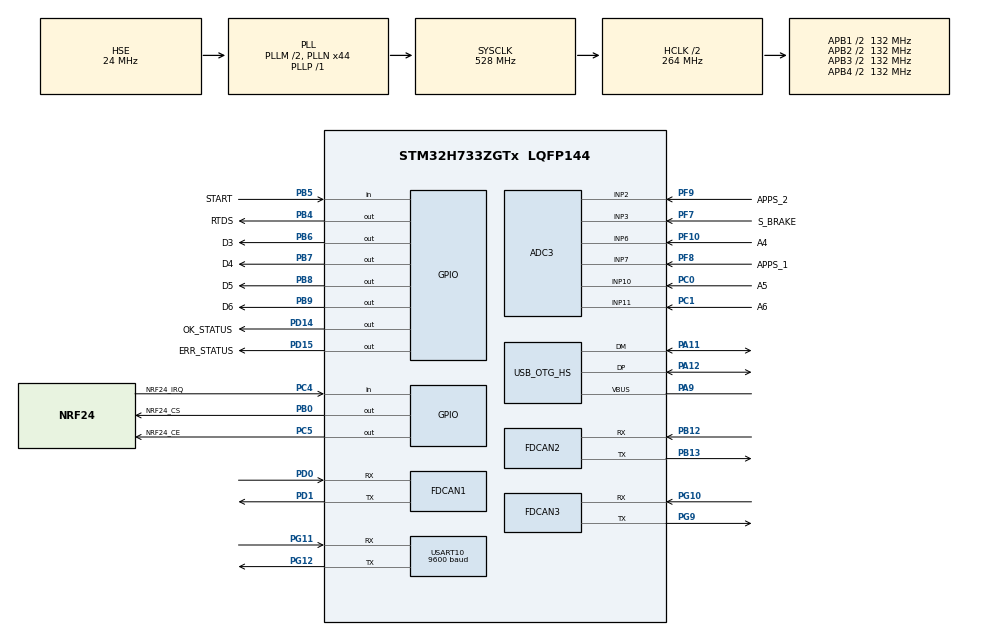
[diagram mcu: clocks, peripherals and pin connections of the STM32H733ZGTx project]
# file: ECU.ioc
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ADC3.Channel-0\#ChannelRegularConversion=ADC_CHANNEL_3
ADC3.NbrOfConversionFlag=1
ADC3.OffsetNumber-0\#ChannelRegularConversion=ADC_OFFSET_NONE
ADC3.OffsetSign-0\#ChannelRegularConversion=ADC3_OFFSET_SIGN_NEGATIVE
ADC3.Rank-0\#ChannelRegularConversion=1
ADC3.SamplingTime-0\#ChannelRegularConversion=ADC3_SAMPLETIME_2CYCLES_5
FDCAN1.AutoRetransmission=ENABLE
FDCAN1.CalculateBaudRateNominal=500000
FDCAN1.CalculateTimeBitNominal=2000
FDCAN1.CalculateTimeQuantumNominal=125.0
FDCAN1.ExtFiltersNbr=1
FDCAN1.NominalPrescaler=3
FDCAN1.NominalTimeSeg1=13
FDCAN1.NominalTimeSeg2=2
FDCAN1.RxBuffersNbr=0
FDCAN1.RxFifo0ElmtsNbr=32
FDCAN1.RxFifo1ElmtsNbr=32
FDCAN1.StdFiltersNbr=1
FDCAN1.TxBuffersNbr=0
FDCAN1.TxEventsNbr=0
FDCAN1.TxFifoQueueElmtsNbr=32
FDCAN2.AutoRetransmission=ENABLE
FDCAN2.CalculateBaudRateNominal=500000
FDCAN2.CalculateTimeBitNominal=2000
FDCAN2.CalculateTimeQuantumNominal=125.0
FDCAN2.ExtFiltersNbr=1
FDCAN2.FrameFormat=FDCAN_FRAME_CLASSIC
FDCAN2.NominalPrescaler=3
FDCAN2.NominalTimeSeg1=10
FDCAN2.NominalTimeSeg2=5
FDCAN2.RxBuffersNbr=0
FDCAN2.RxFifo0ElmtSize=FDCAN_DATA_BYTES_8
FDCAN2.RxFifo0ElmtsNbr=16
FDCAN2.RxFifo1ElmtsNbr=16
FDCAN2.StdFiltersNbr=1
FDCAN2.TxBuffersNbr=0
FDCAN2.TxEventsNbr=0
FDCAN2.TxFifoQueueElmtsNbr=16
FDCAN3.AutoRetransmission=ENABLE
FDCAN3.CalculateBaudRateNominal=500000
FDCAN3.CalculateTimeBitNominal=2000
FDCAN3.CalculateTimeQuantumNominal=41.666666666666664
FDCAN3.NominalPrescaler=1
FDCAN3.NominalTimeSeg1=34
FDCAN3.NominalTimeSeg2=13
FDCAN3.TxFifoQueueElmtsNbr=32
FREERTOS.Queues01=can_rx_queue,32,CanFrame,0,Dynamic,NULL,NULL;can_tx_queue,32,CanFrame,0,Dynamic,NULL,NULL
FREERTOS.Tasks01=defaultTask,8,128,StartDefaultTask,Default,NULL,Dynamic,NULL,NULL;App_InitTask,40,512,StartAppInitTask,Default,NULL,Dynamic,NULL,NULL;ControlTask,48,512,StartControlTask,Default,NULL,Dynamic,NULL,NULL;CanRxTask,32,512,StartCanRxTask,Default,NULL,Dynamic,NULL,NULL;CanTxTask,32,256,StartCanTxTask,Default,NULL,Dynamic,NULL,NULL;DiagTask,8,512,StartDiagTask,Default,NULL,Dynamic,NULL,NULL;TelemetryTask,16,512,StartTelemetryTask,Default,NULL,Dynamic,NULL,NULL
FREERTOS.configCHECK_FOR_STACK_OVERFLOW=2
FREERTOS.configENABLE_FPU=1
FREERTOS.configTICK_RATE_HZ=1000
FREERTOS.configTOTAL_HEAP_SIZE=65536
FREERTOS.configUSE_IDLE_HOOK=1
FREERTOS.configUSE_MALLOC_FAILED_HOOK=1
FREERTOS.configUSE_NEWLIB_REENTRANT=1
IWDG1.Prescaler=IWDG_PRESCALER_32
IWDG1.Reload=500
Mcu.Family=STM32H7
Mcu.Name=STM32H733ZGTx
Mcu.Package=LQFP144
NVIC.FDCAN1_IT0_IRQn=true\:5\:0\:true\:false\:true\:true\:true\:true\:true
NVIC.FDCAN2_IT0_IRQn=true\:5\:0\:true\:false\:true\:true\:true\:true\:true
NVIC.PriorityGroup=NVIC_PRIORITYGROUP_4
NVIC.TIM16_IRQn=true\:5\:0\:false\:false\:true\:true\:true\:true\:true
NVIC.TIM23_IRQn=true\:15\:0\:false\:false\:true\:false\:false\:true\:true
NVIC.TimeBase=TIM23_IRQn
NVIC.TimeBaseIP=TIM23
NVIC.USART10_IRQn=true\:5\:0\:false\:false\:true\:true\:true\:true\:true
PA11.Mode=Device_Only_FS
PA11.Signal=USB_OTG_HS_DM
PA12.Mode=Device_Only_FS
PA12.Signal=USB_OTG_HS_DP
PA13(JTMS/SWDIO).Mode=Serial_Wire
PA13(JTMS/SWDIO).Signal=DEBUG_JTMS-SWDIO
PA14(JTCK/SWCLK).Mode=Serial_Wire
PA14(JTCK/SWCLK).Signal=DEBUG_JTCK-SWCLK
PA9.Mode=Activate_VBUS_FS
PA9.Signal=USB_OTG_HS_VBUS
PB0.GPIO_Label=NRF24_CS
PB0.Signal=GPIO_Output
PB12.Mode=FDCAN_Activate
PB12.Signal=FDCAN2_RX
PB13.Mode=FDCAN_Activate
PB13.Signal=FDCAN2_TX
PB4(NJTRST).GPIO_Label=RTDS
PB4(NJTRST).Signal=GPIO_Output
PB5.GPIO_Label=START
PB5.Signal=GPIO_Input
PB6.GPIO_Label=D3
PB6.Signal=GPIO_Output
PB7.GPIO_Label=D4
PB7.Signal=GPIO_Output
PB8.GPIO_Label=D5
PB8.Signal=GPIO_Output
PB9.GPIO_Label=D6
PB9.Signal=GPIO_Output
PC0.GPIO_Label=A5
PC0.Signal=ADCx_INP10
PC1.GPIO_Label=A6
PC1.Signal=ADCx_INP11
PC4.GPIO_Label=NRF24_IRQ
PC4.Signal=GPIO_Input
PC5.GPIO_Label=NRF24_CE
PC5.Signal=GPIO_Output
PD0.Mode=FDCAN_Activate
PD0.Signal=FDCAN1_RX
PD1.Mode=FDCAN_Activate
PD1.Signal=FDCAN1_TX
PD14.GPIO_Label=OK_STATUS
PD14.Signal=GPIO_Output
PD15.GPIO_Label=ERR_STATUS
PD15.Signal=GPIO_Output
PF10.GPIO_Label=A4
PF10.Mode=IN6-Single-Ended
PF10.Signal=ADC3_INP6
PF7.GPIO_Label=S_BRAKE
PF7.Mode=IN3-Single-Ended
PF7.Signal=ADC3_INP3
PF8.GPIO_Label=APPS_1
PF8.Signal=SharedAnalog_PF8
PF9.GPIO_Label=APPS_2
PF9.Mode=IN2-Single-Ended
PF9.Signal=ADC3_INP2
PG10.Mode=FDCAN_Activate
PG10.Signal=FDCAN3_RX
PG11.Mode=Asynchronous
PG11.Signal=USART10_RX
PG12.Mode=Asynchronous
PG12.Signal=USART10_TX
PG9.Mode=FDCAN_Activate
PG9.Signal=FDCAN3_TX
PH0-OSC_IN.Mode=HSE-External-Oscillator
PH0-OSC_IN.Signal=RCC_OSC_IN
PH1-OSC_OUT.Mode=HSE-External-Oscillator
PH1-OSC_OUT.Signal=RCC_OSC_OUT
ProjectManager.HeapSize=0x1000
ProjectManager.StackSize=0x400
ProjectManager.TargetToolchain=STM32CubeIDE
RCC.ADCCLockSelection=RCC_ADCCLKSOURCE_PLL2
RCC.ADCFreq_Value=96000000
RCC.APB1Freq_Value=132000000
RCC.APB2Freq_Value=132000000
RCC.APB3Freq_Value=132000000
RCC.APB4Freq_Value=132000000
RCC.CECCLockSelection=RCC_CECCLKSOURCE_LSI
RCC.CKPERSourceSelection=RCC_CLKPSOURCE_HSI
RCC.CSI_VALUE=4000000
RCC.CortexFreq_Value=528000000
RCC.Cortex_DivARG=SystemCoreClock/1000
RCC.D1PPRE=RCC_APB3_DIV2
RCC.D2PPRE1=RCC_APB1_DIV2
RCC.D2PPRE2=RCC_APB2_DIV2
RCC.D3PPRE=RCC_APB4_DIV2
RCC.DFSDMCLockSelection=RCC_DFSDM1CLKSOURCE_D2PCLK1
RCC.DIVM1=2
RCC.DIVM2=2
RCC.DIVN1=44
RCC.DIVN2=16
RCC.DIVP1=1
RCC.DIVQ1=4
RCC.DIVR2=1
RCC.EXTERNAL_CLOCK_VALUE=12288000
RCC.FDCANCLockSelection=RCC_FDCANCLKSOURCE_HSE
RCC.FMCCLockSelection=RCC_FMCCLKSOURCE_D1HCLK
RCC.HCLKFreq_Value=264000000
RCC.HPRE=RCC_HCLK_DIV2
RCC.HSE_VALUE=24000000
RCC.HSI48_VALUE=48000000
RCC.HSI_VALUE=64000000
RCC.I2C123CLockSelection=RCC_I2C1235CLKSOURCE_D2PCLK1
RCC.I2C4CLockSelection=RCC_I2C4CLKSOURCE_D3PCLK1
RCC.LPTIM1CLockSelection=RCC_LPTIM1CLKSOURCE_D2PCLK1
RCC.LPTIM2CLockSelection=RCC_LPTIM2CLKSOURCE_D3PCLK1
RCC.LPTIM345CLockSelection=RCC_LPTIM345CLKSOURCE_D3PCLK1
RCC.LPUART1CLockSelection=RCC_LPUART1CLKSOURCE_D3PCLK1
RCC.LSE_VALUE=32768
RCC.PLL2FRACN=0
RCC.PLL3FRACN=0
RCC.PLLFRACN=0
RCC.PLLSourceVirtual=RCC_PLLSOURCE_HSE
RCC.QSPICLockSelection=RCC_OSPICLKSOURCE_D1HCLK
RCC.RCC_MCO1Source=RCC_MCO1SOURCE_HSI
RCC.RCC_MCO2Source=RCC_MCO2SOURCE_SYSCLK
RCC.RNGCLockSelection=RCC_RNGCLKSOURCE_HSI48
RCC.SAI1CLockSelection=RCC_SAI1CLKSOURCE_PLL
RCC.SAI4ACLockSelection=RCC_SAI4ACLKSOURCE_PLL
RCC.SAI4BCLockSelection=RCC_SAI4BCLKSOURCE_PLL
RCC.SDMMC1CLockSelection=RCC_SDMMCCLKSOURCE_PLL2
RCC.SPDIFCLockSelection=RCC_SPDIFRXCLKSOURCE_PLL
RCC.SPI123CLockSelection=RCC_SPI123CLKSOURCE_PLL
RCC.SPI6CLockSelection=RCC_SPI6CLKSOURCE_D3PCLK1
RCC.SWPCLockSelection=RCC_SWPMI1CLKSOURCE_D2PCLK1
RCC.SYSCLKFreq_VALUE=528000000
RCC.SYSCLKSource=RCC_SYSCLKSOURCE_PLLCLK
RCC.Spi45ClockSelection=RCC_SPI45CLKSOURCE_D2PCLK1
RCC.USART16CLockSelection=RCC_USART16910CLKSOURCE_D2PCLK2
RCC.USART234578CLockSelection=RCC_USART234578CLKSOURCE_D2PCLK1
RCC.USBCLockSelection=RCC_USBCLKSOURCE_HSI48
RCC.USBFreq_Value=48000000
SH.ADCx_INP10.0=ADC3_INP10,IN10-Single-Ended
SH.ADCx_INP11.0=ADC3_INP11,IN11-Single-Ended
SH.SharedAnalog_PF8.0=ADC3_INN3
SH.SharedAnalog_PF8.1=ADC3_INP7,IN7-Single-Ended
TIM1.AutoReloadPreload=TIM_AUTORELOAD_PRELOAD_ENABLE
TIM1.Period=65535
TIM1.Prescaler=0
TIM16.Period=10000 - 1
TIM16.Prescaler=528
USART10.BaudRate=9600
USART10.VirtualMode-Asynchronous=VM_ASYNC
USB_OTG_HS.VirtualMode-Device_Only_FS=Device_Only_FS
VP_FREERTOS_VS_CMSIS_V2.Mode=CMSIS_V2
VP_IWDG1_VS_IWDG.Mode=IWDG_Activate
VP_MEMORYMAP_VS_MEMORYMAP.Mode=CurAppReg
VP_SYS_VS_tim23.Mode=TIM23
VP_TIM16_VS_ClockSourceINT.Mode=Enable_Timer
VP_TIM1_VS_ClockSourceINT.Mode=Internal
board=custom

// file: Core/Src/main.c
/* USER CODE BEGIN Header */
/**
  ******************************************************************************
  * @file           : main.c
  * @brief          : Main program body
  ******************************************************************************
  * @attention
  *
  * Copyright (c) 2026 STMicroelectronics.
  * All rights reserved.
  *
  * This software is licensed under terms that can be found in the LICENSE file
  * in the root directory of this software component.
  * If no LICENSE file comes with this software, it is provided AS-IS.
  *
  ******************************************************************************
  */
/* USER CODE END Header */
#include "main.h"
#include "FreeRTOS.h"
#include "cmsis_os2.h"
#include "adc.h"
#include "fdcan.h"
#include "iwdg.h"
#include "tim.h"
#include "usart.h"
#include "usb_otg.h"
#include "gpio.h"

/* USER CODE BEGIN Includes */
#include "stm32h7xx_ll_cortex.h"
/* USER CODE END Includes */

void SystemClock_Config(void);
void MX_FREERTOS_Init(void);

int main(void)
{

  /* USER CODE BEGIN 1 */
  /* The stm32-can-bootloader hands the app off with IRQs masked (__disable_irq)
   * and SysTick stopped -- by design (its Bootloader_JumpToApplication, issue #59),
   * relying on the app to re-enable IRQs once it owns the CPU. Until we do, the
   * HAL timebase interrupt (TIM23) can't fire, HAL_GetTick() stays frozen, and
   * HAL's tick-based waits in HAL_Init / SystemClock_Config spin forever -> the
   * BL-inherited IWDG resets us before our own init runs (the intermittent boot
   * crash; SWD-confirmed: PRIMASK set hangs in HAL_Init, cleared it boots; bench
   * 6/6 cold-boots). Clear any stale pending SysTick, then unmask -- first thing. */
  SCB->ICSR = SCB_ICSR_PENDSTCLR_Msk;
  __enable_irq();
  /* USER CODE END 1 */

  /* MCU Configuration--------------------------------------------------------*/

  /* Reset of all peripherals, Initializes the Flash interface and the Systick. */
  HAL_Init();

  /* USER CODE BEGIN Init */
  /* The idle hook sleeps the core with WFI (freertos.c). Make sure that WFI
   * means Sleep -- CPU clock gated, peripherals and buses running -- and
   * never Stop, which would stop the FDCAN clocks, whatever SLEEPDEEP was
   * left at before the app started. Keep the debug clocks running in Sleep so
   * a debugger attached to the flashed image does not drop the connection.
   * Deliberately in every build, Release included, matching the AMS: the
   * image the car and the bench run is the one worth attaching to. */
  LL_LPM_EnableSleep();
  HAL_DBGMCU_EnableDBGSleepMode();
  /* USER CODE END Init */

  /* Configure the system clock */
  SystemClock_Config();

  /* USER CODE BEGIN SysInit */
  /* Bootloader-handoff hardening (fixes the intermittent IWDG boot crash; SWD
   * confirmed the app re-inits FDCAN over the BL's LIVE state, while the clean
   * reset path never faults):
   *   1) The BL leaves its IWDG running -- we inherit it across the jump and
   *      can't stop it. Refresh it now so a slow early init can't trip it before
   *      MX_IWDG1_Init re-owns it. Harmless no-op if no IWDG is running.
   *   2) The BL leaves FDCAN started + the shared message RAM populated. Force
   *      the FDCAN peripheral back to its reset state so MX_FDCAN1/2_Init configure
   *      from a known-clean baseline, exactly like a cold power-on (one reset line
   *      covers all FDCAN instances). */
  IWDG1->KR = 0x0000AAAAU;
  __HAL_RCC_FDCAN_FORCE_RESET();
  __HAL_RCC_FDCAN_RELEASE_RESET();
  /* USER CODE END SysInit */

  /* Initialize all configured peripherals */
  MX_GPIO_Init();
  MX_FDCAN1_Init();
  MX_FDCAN2_Init();
  MX_TIM1_Init();
  MX_TIM16_Init();
  MX_ADC3_Init();
  MX_USART10_UART_Init();
  MX_USB_OTG_HS_PCD_Init();
  MX_IWDG1_Init();
  MX_FDCAN3_Init();
  /* USER CODE BEGIN 2 */
  /* H7: HAL_PWR_EnableBkUpAccess() unlocks backup-domain WRITES but does not
   * clock the RTC. The fault latch (error_latch) and the BL boot-magic
   * (bootloader) live in RTC->BKPxR, and any BKPxR access bus-faults while the
   * RTC APB clock is off -- which it is after a backup-domain reset. The app
   * inherited RTCEN from the BL only on warm jumps; enable it explicitly here,
   * once, before the scheduler, so every BKPxR user works. Mirrors the BL. */
  HAL_PWR_EnableBkUpAccess();
  if ((RCC->BDCR & RCC_BDCR_RTCEN) == 0U) {
    __HAL_RCC_RTC_ENABLE();
  }
  /* USER CODE END 2 */

  /* Init scheduler */
  osKernelInitialize();  /* Call init function for freertos objects (in cmsis_os2.c) */
  MX_FREERTOS_Init();

  /* Start scheduler */
  osKernelStart();

  /* We should never get here as control is now taken by the scheduler */

  /* Infinite loop */
  while (1)
  {

  }
}

void SystemClock_Config(void)
{
  RCC_OscInitTypeDef RCC_OscInitStruct = {0};
  RCC_ClkInitTypeDef RCC_ClkInitStruct = {0};

  /** Supply configuration update enable
  */
  HAL_PWREx_ConfigSupply(PWR_LDO_SUPPLY);

  /** Configure the main internal regulator output voltage
  */
  __HAL_PWR_VOLTAGESCALING_CONFIG(PWR_REGULATOR_VOLTAGE_SCALE0);

  while(!__HAL_PWR_GET_FLAG(PWR_FLAG_VOSRDY)) {}

  /** Initializes the RCC Oscillators according to the specified parameters
  * in the RCC_OscInitTypeDef structure.
  */
  RCC_OscInitStruct.OscillatorType = RCC_OSCILLATORTYPE_HSI48|RCC_OSCILLATORTYPE_LSI
                              |RCC_OSCILLATORTYPE_HSE;
  RCC_OscInitStruct.HSEState = RCC_HSE_ON;
  RCC_OscInitStruct.LSIState = RCC_LSI_ON;
  RCC_OscInitStruct.HSI48State = RCC_HSI48_ON;
  RCC_OscInitStruct.PLL.PLLState = RCC_PLL_ON;
  RCC_OscInitStruct.PLL.PLLSource = RCC_PLLSOURCE_HSE;
  RCC_OscInitStruct.PLL.PLLM = 2;
  RCC_OscInitStruct.PLL.PLLN = 44;
  RCC_OscInitStruct.PLL.PLLP = 1;
  RCC_OscInitStruct.PLL.PLLQ = 4;
  RCC_OscInitStruct.PLL.PLLR = 2;
  RCC_OscInitStruct.PLL.PLLRGE = RCC_PLL1VCIRANGE_3;
  RCC_OscInitStruct.PLL.PLLVCOSEL = RCC_PLL1VCOWIDE;
  RCC_OscInitStruct.PLL.PLLFRACN = 0;
  if (HAL_RCC_OscConfig(&RCC_OscInitStruct) != HAL_OK)
  {
    Error_Handler();
  }

  /** Initializes the CPU, AHB and APB buses clocks
  */
  RCC_ClkInitStruct.ClockType = RCC_CLOCKTYPE_HCLK|RCC_CLOCKTYPE_SYSCLK
                              |RCC_CLOCKTYPE_PCLK1|RCC_CLOCKTYPE_PCLK2
                              |RCC_CLOCKTYPE_D3PCLK1|RCC_CLOCKTYPE_D1PCLK1;
  RCC_ClkInitStruct.SYSCLKSource = RCC_SYSCLKSOURCE_PLLCLK;
  RCC_ClkInitStruct.SYSCLKDivider = RCC_SYSCLK_DIV1;
  RCC_ClkInitStruct.AHBCLKDivider = RCC_HCLK_DIV2;
  RCC_ClkInitStruct.APB3CLKDivider = RCC_APB3_DIV2;
  RCC_ClkInitStruct.APB1CLKDivider = RCC_APB1_DIV2;
  RCC_ClkInitStruct.APB2CLKDivider = RCC_APB2_DIV2;
  RCC_ClkInitStruct.APB4CLKDivider = RCC_APB4_DIV2;

  if (HAL_RCC_ClockConfig(&RCC_ClkInitStruct, FLASH_LATENCY_3) != HAL_OK)
  {
    Error_Handler();
  }
}

void HAL_TIM_PeriodElapsedCallback(TIM_HandleTypeDef *htim)
{
  if (htim->Instance == TIM23)
  {
    HAL_IncTick();
  }
}

void Error_Handler(void)
{
  __disable_irq();
  while (1)
  {
  }
}

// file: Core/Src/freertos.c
/* USER CODE BEGIN Header */
/**
  ******************************************************************************
  * File Name          : freertos.c
  * Description        : Code for freertos applications
  ******************************************************************************
  * @attention
  *
  * Copyright (c) 2026 STMicroelectronics.
  * All rights reserved.
  *
  * This software is licensed under terms that can be found in the LICENSE file
  * in the root directory of this software component.
  * If no LICENSE file comes with this software, it is provided AS-IS.
  *
  ******************************************************************************
  */
/* USER CODE END Header */

#include "FreeRTOS.h"
#include "task.h"
#include "main.h"
#include "FreeRTOS.h"
#include "cmsis_os2.h"

/* USER CODE BEGIN Includes */
#include "app/app_globals.h"   /* ecu_app_globals_init, ecu_fault_latch_set_c */
#include "app/app_tasks.h"     /* ecu_*_task_run trampolines */
#include "app/can_frame.h"     /* CanFrame -> sizeof() for the queues below */
/* USER CODE END Includes */

/* USER CODE BEGIN Variables */
/* GpsTask -- MTK3339 NMEA drain + 0x508/0x509 publish (Core/Src/app/gps_task.cpp).
 * Deliberately declared and created HERE, in the USER CODE blocks, instead of via
 * CubeMX: a regen rewrites the generated task tables (it has already silently
 * reset the FDCAN2 MessageRAM offset once), and losing the GPS task to a regen
 * would be a silent telemetry outage. USER CODE survives regeneration.
 * Low priority -- it must never compete with ControlTask; the RX ring absorbs
 * any preemption. */
osThreadId_t GpsTaskHandle;
const osThreadAttr_t GpsTask_attributes = {
  .name = "GpsTask",
  .stack_size = 512 * 4,
  .priority = (osPriority_t) osPriorityLow,
};
/* USER CODE END Variables */
/* Definitions for defaultTask */
osThreadId_t defaultTaskHandle;
const osThreadAttr_t defaultTask_attributes = {
  .name = "defaultTask",
  .stack_size = 128 * 4,
  .priority = (osPriority_t) osPriorityLow,
};
/* Definitions for App_InitTask */
osThreadId_t App_InitTaskHandle;
const osThreadAttr_t App_InitTask_attributes = {
  .name = "App_InitTask",
  .stack_size = 512 * 4,
  .priority = (osPriority_t) osPriorityHigh,
};
/* Definitions for ControlTask */
osThreadId_t ControlTaskHandle;
const osThreadAttr_t ControlTask_attributes = {
  .name = "ControlTask",
  .stack_size = 512 * 4,
  .priority = (osPriority_t) osPriorityRealtime,
};
/* Definitions for CanRxTask */
osThreadId_t CanRxTaskHandle;
const osThreadAttr_t CanRxTask_attributes = {
  .name = "CanRxTask",
  .stack_size = 512 * 4,
  .priority = (osPriority_t) osPriorityAboveNormal,
};
/* Definitions for CanTxTask */
osThreadId_t CanTxTaskHandle;
const osThreadAttr_t CanTxTask_attributes = {
  .name = "CanTxTask",
  .stack_size = 256 * 4,
  .priority = (osPriority_t) osPriorityAboveNormal,
};
/* Definitions for DiagTask */
osThreadId_t DiagTaskHandle;
const osThreadAttr_t DiagTask_attributes = {
  .name = "DiagTask",
  .stack_size = 512 * 4,
  .priority = (osPriority_t) osPriorityLow,
};
/* Definitions for TelemetryTask */
osThreadId_t TelemetryTaskHandle;
const osThreadAttr_t TelemetryTask_attributes = {
  .name = "TelemetryTask",
  .stack_size = 512 * 4,
  .priority = (osPriority_t) osPriorityBelowNormal,
};
/* Definitions for can_rx_queue */
osMessageQueueId_t can_rx_queueHandle;
const osMessageQueueAttr_t can_rx_queue_attributes = {
  .name = "can_rx_queue"
};
/* Definitions for can_tx_queue */
osMessageQueueId_t can_tx_queueHandle;
const osMessageQueueAttr_t can_tx_queue_attributes = {
  .name = "can_tx_queue"
};

void StartDefaultTask(void *argument);
void StartAppInitTask(void *argument);
void StartControlTask(void *argument);
void StartCanRxTask(void *argument);
void StartCanTxTask(void *argument);
void StartDiagTask(void *argument);
void StartTelemetryTask(void *argument);

void MX_FREERTOS_Init(void); /* (MISRA C 2004 rule 8.1) */

/* Hook prototypes */
void vApplicationIdleHook(void);
void vApplicationStackOverflowHook(xTaskHandle xTask, char *pcTaskName);
void vApplicationMallocFailedHook(void);

/* USER CODE BEGIN 2 */
void vApplicationIdleHook( void )
{
  /* Sleep until the next interrupt instead of spinning. The idle task only
   * runs when no task is ready, and every source that can ready one -- the
   * 1 kHz FreeRTOS tick, the TIM23 HAL timebase, FDCAN1/FDCAN2 RX and the
   * USART10 (GPS) receive interrupt -- is an interrupt that wakes the core
   * within a few cycles, so task timing is unchanged. ADC3 is polled from
   * ControlTask and never needs to wake it. Sleep (SLEEPDEEP clear, forced by
   * LL_LPM_EnableSleep in main.c) gates only the CPU clock: peripherals, buses
   * and the IWDG keep running. The DSB lets outstanding memory accesses
   * complete before the core stops. This hook must return and must never
   * block: the idle task also frees deleted tasks (App_InitTask exits). */
  __DSB();
  __WFI();
}
/* USER CODE END 2 */

/* USER CODE BEGIN 4 */
void vApplicationStackOverflowHook(xTaskHandle xTask, char *pcTaskName)
{
   /* Run time stack overflow checking is performed if
   configCHECK_FOR_STACK_OVERFLOW is defined to 1 or 2. This hook function is
   called if a stack overflow is detected. */
   (void)xTask; (void)pcTaskName;
   ecu_fault_latch_set_c(0xF5u);   /* FaultCode::StackOverflow -> 0x704 last_fault */
}
/* USER CODE END 4 */

/* USER CODE BEGIN 5 */
void vApplicationMallocFailedHook(void)
{
   /* vApplicationMallocFailedHook() will only be called if
   configUSE_MALLOC_FAILED_HOOK is set to 1 in FreeRTOSConfig.h. It is a hook
   function that will get called if a call to pvPortMalloc() fails.
   pvPortMalloc() is called internally by the kernel whenever a task, queue,
   timer or semaphore is created. It is also called by various parts of the
   demo application. If heap_1.c or heap_2.c are used, then the size of the
   heap available to pvPortMalloc() is defined by configTOTAL_HEAP_SIZE in
   FreeRTOSConfig.h, and the xPortGetFreeHeapSize() API function can be used
   to query the size of free heap space that remains (although it does not
   provide information on how the remaining heap might be fragmented). */
   ecu_fault_latch_set_c(0xF6u);   /* FaultCode::MallocFailed -> 0x704 last_fault */
}
/* USER CODE END 5 */

void MX_FREERTOS_Init(void) {
  /* USER CODE BEGIN Init */
  ecu_app_globals_init();
  /* USER CODE END Init */

  /* Create the queue(s) */
  /* creation of can_rx_queue */
  can_rx_queueHandle = osMessageQueueNew (32, sizeof(CanFrame), &can_rx_queue_attributes);

  /* creation of can_tx_queue */
  can_tx_queueHandle = osMessageQueueNew (32, sizeof(CanFrame), &can_tx_queue_attributes);

  /* Create the thread(s) */
  /* creation of defaultTask */
  defaultTaskHandle = osThreadNew(StartDefaultTask, NULL, &defaultTask_attributes);

  /* creation of App_InitTask */
  App_InitTaskHandle = osThreadNew(StartAppInitTask, NULL, &App_InitTask_attributes);

  /* creation of ControlTask */
  ControlTaskHandle = osThreadNew(StartControlTask, NULL, &ControlTask_attributes);

  /* creation of CanRxTask */
  CanRxTaskHandle = osThreadNew(StartCanRxTask, NULL, &CanRxTask_attributes);

  /* creation of CanTxTask */
  CanTxTaskHandle = osThreadNew(StartCanTxTask, NULL, &CanTxTask_attributes);

  /* creation of DiagTask */
  DiagTaskHandle = osThreadNew(StartDiagTask, NULL, &DiagTask_attributes);

  /* creation of TelemetryTask */
  TelemetryTaskHandle = osThreadNew(StartTelemetryTask, NULL, &TelemetryTask_attributes);

  /* USER CODE BEGIN RTOS_THREADS */
  /* GpsTask: ecu_gps_task_run already has the osThreadFunc_t signature, so it is
     passed directly -- no CubeMX Start* trampoline needed. */
  GpsTaskHandle = osThreadNew(ecu_gps_task_run, NULL, &GpsTask_attributes);
  /* add threads, ... */
  /* USER CODE END RTOS_THREADS */

}

void StartDefaultTask(void *argument)
{
  for(;;)
  {
    osDelay(1);
  }
}

void StartAppInitTask(void *argument)
{
  /* USER CODE BEGIN StartAppInitTask */
  ecu_app_init_task_run(argument);
  /* USER CODE END StartAppInitTask */
}

void StartControlTask(void *argument)
{
  /* USER CODE BEGIN StartControlTask */
  ecu_control_task_run(argument);
  /* USER CODE END StartControlTask */
}

void StartCanRxTask(void *argument)
{
  /* USER CODE BEGIN StartCanRxTask */
  ecu_can_rx_task_run(argument);
  /* USER CODE END StartCanRxTask */
}

void StartCanTxTask(void *argument)
{
  /* USER CODE BEGIN StartCanTxTask */
  ecu_can_tx_task_run(argument);
  /* USER CODE END StartCanTxTask */
}

void StartDiagTask(void *argument)
{
  /* USER CODE BEGIN StartDiagTask */
  ecu_diag_task_run(argument);
  /* USER CODE END StartDiagTask */
}

void StartTelemetryTask(void *argument)
{
  /* USER CODE BEGIN StartTelemetryTask */
  ecu_telemetry_task_run(argument);
  /* USER CODE END StartTelemetryTask */
}
